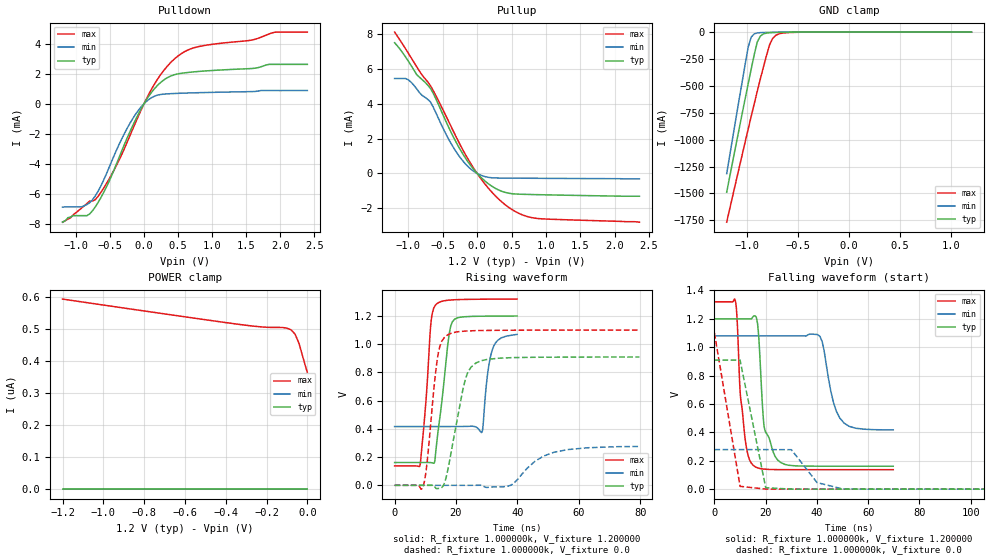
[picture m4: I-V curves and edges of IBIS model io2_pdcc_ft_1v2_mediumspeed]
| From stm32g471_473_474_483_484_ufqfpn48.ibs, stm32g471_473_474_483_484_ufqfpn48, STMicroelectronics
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|   Model io2_pdcc_ft_1v2_mediumspeed
[Model]  io2_pdcc_ft_1v2_mediumspeed
Model_type I/O
Polarity   Non-Inverting
Enable   Active-Low
Vinl =   0.360000V
Vinh =   0.840000V
Vmeas =  0.600000V
Cref =   40.000000pF
Rref =   100.000000M
Vref =   0.0V
C_comp   3.923200pF   3.103700pF   4.923200pF
[Temperature Range]   25.000000   -40.000000   0.125000k
[Pullup Reference]   1.200000V   1.080000V   1.320000V
[Pulldown Reference]   0.0V   0.0V   0.0V
[POWER Clamp Reference]   1.200000V   1.080000V   1.320000V
[GND Clamp Reference]   0.0V   0.0V   0.0V
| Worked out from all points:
|   slope of the pulldown table from 0 to 0.18 V, typ, clamps not added: 160 ohm
|   slope of the pullup table from 0 to 0.18 V, typ, clamps not added: 281 ohm
|   GND clamp passes 1 mA (typ) near -0.58 V on its own axis
|   rising waveform, R_fixture 1.000000k, V_fixture 1.200000: 20-80 % time 3.22ns typ, 2.3ns min, 2.25ns max; typ from 0.161 V to 1.2 V
|   rising waveform, R_fixture 1.000000k, V_fixture 0.0: 20-80 % time 4.81ns typ, 9.59ns min, 2.98ns max; typ from 0 V to 0.908 V
|   falling waveform, R_fixture 1.000000k, V_fixture 1.200000: 20-80 % time 3.52ns typ, 4.54ns min, 2.72ns max; typ from 1.2 V to 0.162 V
|   falling waveform, R_fixture 1.000000k, V_fixture 0.0: 20-80 % time 6.07ns typ, 7.22ns min, 6.12ns max; typ from 0.909 V to 0 V
[Pulldown]
|Voltage   I(typ)   I(min)   I(max)
-1.2V     -7.9mA     -6.9mA     -7.9mA
-920mV    -7.464mA   -6.879mA   -6.96mA
-840mV    -7.464mA   -6.721mA   -6.65mA
-720mV    -6.893mA   -6.163mA   -6.402mA
-440mV    -4.389mA   -3.449mA   -4.412mA
-120mV    -1.022mA   -674.6uA   -1.201mA
80mV      569.2uA    307.2uA    721.9uA
320mV     1.664mA    639.8uA    2.378mA
520mV     1.996mA    684uA      3.24mA
760mV     2.123mA    719uA      3.749mA
1.92V     2.611mA    868uA      4.749mA
2.4V      2.611mA    868uA      4.76mA
[Pullup]
|Voltage   I(typ)   I(min)   I(max)
-1.2V     7.501mA    5.447mA    8.114mA
-1V       6.443mA    5.373mA    6.898mA
-880mV    5.68mA     4.862mA    6.133mA
-680mV    4.888mA    4.11mA     5.044mA
-360mV    2.208mA    1.588mA    2.54mA
-240mV    1.327mA    879.1uA    1.591mA
-120mV    590.4uA    347.2uA    740.8uA
120mV     -457uA     -187.5uA   -639uA
400mV     -1.08mA    -267.8uA   -1.772mA
600mV     -1.19mA    -273.6uA   -2.279mA
840mV     -1.216mA   -279.5uA   -2.568mA
2.36V     -1.31mA    -310uA     -2.8mA
[GND_clamp]
|Voltage   I(typ)   I(min)   I(max)
-1.2V     -1.489A    -1.316A    -1.768A
-990mV    -483.9mA   -143.2mA   -905.1mA
-960mV    -345.5mA   -47.06mA   -785.1mA
-930mV    -210.2mA   -16.78mA   -666.5mA
-900mV    -91.9mA    -7.899mA   -550mA
-870mV    -37.65mA   -5.169mA   -436mA
-780mV    -5.831mA   -2.725mA   -119.5mA
-750mV    -4.305mA   -2.173mA   -59.87mA
-720mV    -3.378mA   -1.668mA   -31.03mA
-660mV    -2.12mA    -830uA     -10.46mA
-480mV    -193.8uA   -7.86uA    -1.422mA
1.2V      0A         0A         248.8nA
[POWER_clamp]
|Voltage   I(typ)   I(min)   I(max)
-1.2V     0A         0A         592.1nA
-600mV    0A         0A         536.8nA
-320mV    0A         0A         512.1nA
-220mV    0A         0A         505.2nA
-120mV    0A         0A         503.5nA
-100mV    0A         0A         501.6nA
-80mV     0A         0A         496.5nA
-60mV     0A         0A         482.9nA
-40mV     0A         0A         452.5nA
-20mV     0A         0A         407nA
0V        0A         0A         363nA
[Ramp]
| variable   typ   min   max
dV/dt_r  0.70314/3.18885n   0.61458/10.62210n   0.77813/2.52934n
dV/dt_f  0.71075/3.04902n   0.63344/3.54222n   0.78368/2.51890n
R_load = 10.000000k
[Rising Waveform]
R_fixture= 1.000000k
V_fixture= 1.200000
V_fixture_min= 1.080000
V_fixture_max= 1.320000
|time   V(typ)   V(min)   V(max)
0s        161.5mV    416.1mV    137.1mV
8.248ns   161.5mV    416mV      139.3mV
10.25ns   161.5mV    416mV      607.8mV
11.77ns   160.8mV    416mV      1.135V
13.29ns   211.4mV    416mV      1.276V
18.82ns   1.157V     416.1mV    1.313V
28.43ns   1.197V     375.4mV    1.317V
30.27ns   1.198V     783.6mV    1.318V
31.87ns   1.198V     961.3mV    1.318V
39.88ns   1.199V     1.068V     1.319V
[Rising Waveform]
R_fixture= 1.000000k
V_fixture= 0.0
V_fixture_min= 0.0
V_fixture_max= 0.0
|time   V(typ)   V(min)   V(max)
0s        35.56nV    40.45nV    16.79uV
9.289ns   -7.057uV   3.346uV    -8.482mV
10.57ns   -17.52uV   3.369uV    160.2mV
14.09ns   -22.31mV   3.338uV    917mV
17.3ns    104.8mV    2.511uV    1.065V
23.06ns   751.3mV    -12.89uV   1.092V
26.43ns   865mV      126uV      1.095V
37.96ns   903.7mV    1.274mV    1.098V
51.89ns   907mV      233.8mV    1.099V
79.76ns   908.3mV    275mV      1.099V
[Falling Waveform]
R_fixture= 1.000000k
V_fixture= 1.200000
V_fixture_min= 1.080000
V_fixture_max= 1.320000
|time   V(typ)   V(min)   V(max)
0s        1.2V       1.08V      1.32V
8.128ns   1.2V       1.08V      1.33V
10.23ns   1.2V       1.08V      640.5mV
15.14ns   1.217V     1.08V      168.1mV
17.1ns    1.119V     1.08V      148.6mV
19.48ns   432.5mV    1.08V      141.3mV
24.66ns   205.4mV    1.08V      137.7mV
41.2ns    161.8mV    1.076V     137.3mV
48.91ns   161.8mV    501.2mV    137.3mV
69.79ns   161.7mV    417mV      137.2mV
[Falling Waveform]
R_fixture= 1.000000k
V_fixture= 0.0
V_fixture_min= 0.0
V_fixture_max= 0.0
|time   V(typ)   V(min)   V(max)
0s        909.4mV    278.6mV    1.1V
10.01ns   909.3mV    278.6mV    19.86mV
20.02ns   10mV       278.6mV    399.6uV
30.03ns   412.4uV    278.1mV    249uV
40.04ns   215.7uV    46.51mV    210.5uV
50.05ns   186.8uV    1.253mV    175.9uV
991ns     50.3nV     15.28nV    17.08uV
